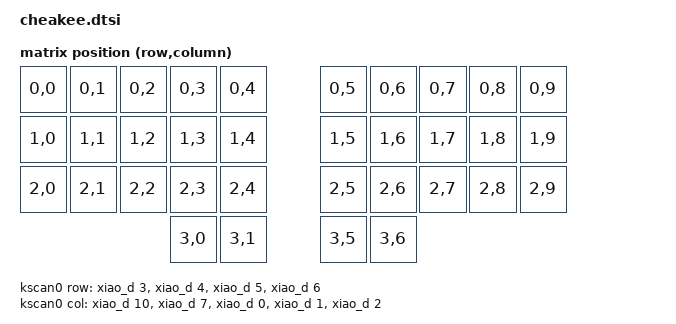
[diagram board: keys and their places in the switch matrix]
#include <dt-bindings/zmk/matrix_transform.h>
#include "cheakee-layouts.dtsi"

/ {
    kscan0: kscan0 {
        compatible = "zmk,kscan-gpio-matrix";
        diode-direction = "col2row";
        wakeup-source;

        row-gpios
            = <&xiao_d 3 (GPIO_ACTIVE_HIGH | GPIO_PULL_DOWN)>
            , <&xiao_d 4 (GPIO_ACTIVE_HIGH | GPIO_PULL_DOWN)>
            , <&xiao_d 5 (GPIO_ACTIVE_HIGH | GPIO_PULL_DOWN)>
            , <&xiao_d 6 (GPIO_ACTIVE_HIGH | GPIO_PULL_DOWN)>;

        col-gpios
            = <&xiao_d 10 GPIO_ACTIVE_HIGH>
            , <&xiao_d 7 GPIO_ACTIVE_HIGH>
            , <&xiao_d 0 GPIO_ACTIVE_HIGH>
            , <&xiao_d 1 GPIO_ACTIVE_HIGH>
            , <&xiao_d 2 GPIO_ACTIVE_HIGH>;
    };

    default_transform: keymap_transform0 {
        compatible = "zmk,matrix-transform";
        columns = <10>;
        rows = <4>;
        map = <
            RC(0,0) RC(0,1) RC(0,2) RC(0,3) RC(0,4)    RC(0,5) RC(0,6) RC(0,7) RC(0,8) RC(0, 9)
            RC(1,0) RC(1,1) RC(1,2) RC(1,3) RC(1,4)    RC(1,5) RC(1,6) RC(1,7) RC(1,8) RC(1, 9)
            RC(2,0) RC(2,1) RC(2,2) RC(2,3) RC(2,4)    RC(2,5) RC(2,6) RC(2,7) RC(2,8) RC(2, 9)
            RC(3,0) RC(3,1)                            RC(3,5) RC(3,6)
        >;
    };

    chosen {
        zmk,physical-layout = &physical_layout0;
    };


    trackball_listener: trackball_listener {
        compatible = "zmk,input-listener";
        status = "disabled";
    };
};

&physical_layout0 {
    kscan = <&kscan0>;
    transform = <&default_transform>;
};
